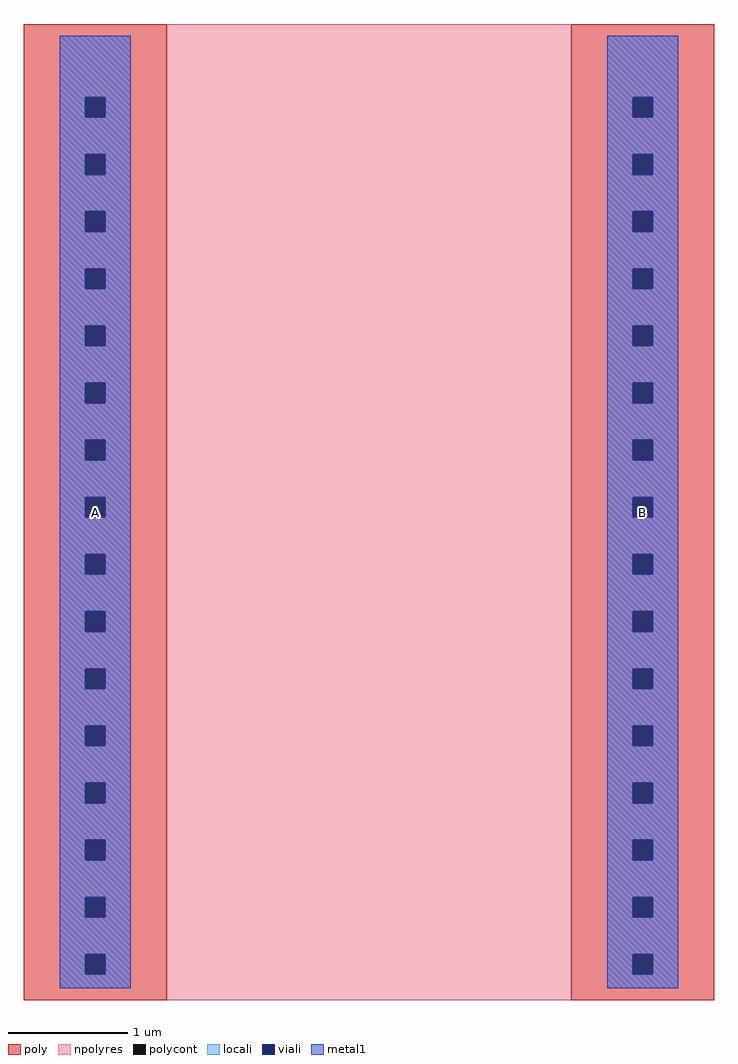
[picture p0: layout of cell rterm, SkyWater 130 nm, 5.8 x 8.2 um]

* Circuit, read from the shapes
.subckt rterm A B
R1 B A sky130_fd_pr__res_generic_po w=8.2 l=3.4
.ends

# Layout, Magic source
magic
tech sky130A
magscale 1 2
<< poly >>
rect 0 1517 240 1640
rect 0 1483 103 1517
rect 137 1483 240 1517
rect 0 1421 240 1483
rect 0 1387 103 1421
rect 137 1387 240 1421
rect 0 1325 240 1387
rect 0 1291 103 1325
rect 137 1291 240 1325
rect 0 1229 240 1291
rect 0 1195 103 1229
rect 137 1195 240 1229
rect 0 1133 240 1195
rect 0 1099 103 1133
rect 137 1099 240 1133
rect 0 1037 240 1099
rect 0 1003 103 1037
rect 137 1003 240 1037
rect 0 941 240 1003
rect 0 907 103 941
rect 137 907 240 941
rect 0 845 240 907
rect 0 811 103 845
rect 137 811 240 845
rect 0 749 240 811
rect 0 715 103 749
rect 137 715 240 749
rect 0 653 240 715
rect 0 619 103 653
rect 137 619 240 653
rect 0 557 240 619
rect 0 523 103 557
rect 137 523 240 557
rect 0 461 240 523
rect 0 427 103 461
rect 137 427 240 461
rect 0 365 240 427
rect 0 331 103 365
rect 137 331 240 365
rect 0 269 240 331
rect 0 235 103 269
rect 137 235 240 269
rect 0 173 240 235
rect 0 139 103 173
rect 137 139 240 173
rect 0 77 240 139
rect 0 43 103 77
rect 137 43 240 77
rect 0 0 240 43
rect 920 1517 1160 1640
rect 920 1483 1023 1517
rect 1057 1483 1160 1517
rect 920 1421 1160 1483
rect 920 1387 1023 1421
rect 1057 1387 1160 1421
rect 920 1325 1160 1387
rect 920 1291 1023 1325
rect 1057 1291 1160 1325
rect 920 1229 1160 1291
rect 920 1195 1023 1229
rect 1057 1195 1160 1229
rect 920 1133 1160 1195
rect 920 1099 1023 1133
rect 1057 1099 1160 1133
rect 920 1037 1160 1099
rect 920 1003 1023 1037
rect 1057 1003 1160 1037
rect 920 941 1160 1003
rect 920 907 1023 941
rect 1057 907 1160 941
rect 920 845 1160 907
rect 920 811 1023 845
rect 1057 811 1160 845
rect 920 749 1160 811
rect 920 715 1023 749
rect 1057 715 1160 749
rect 920 653 1160 715
rect 920 619 1023 653
rect 1057 619 1160 653
rect 920 557 1160 619
rect 920 523 1023 557
rect 1057 523 1160 557
rect 920 461 1160 523
rect 920 427 1023 461
rect 1057 427 1160 461
rect 920 365 1160 427
rect 920 331 1023 365
rect 1057 331 1160 365
rect 920 269 1160 331
rect 920 235 1023 269
rect 1057 235 1160 269
rect 920 173 1160 235
rect 920 139 1023 173
rect 1057 139 1160 173
rect 920 77 1160 139
rect 920 43 1023 77
rect 1057 43 1160 77
rect 920 0 1160 43
<< polycont >>
rect 103 1483 137 1517
rect 103 1387 137 1421
rect 103 1291 137 1325
rect 103 1195 137 1229
rect 103 1099 137 1133
rect 103 1003 137 1037
rect 103 907 137 941
rect 103 811 137 845
rect 103 715 137 749
rect 103 619 137 653
rect 103 523 137 557
rect 103 427 137 461
rect 103 331 137 365
rect 103 235 137 269
rect 103 139 137 173
rect 103 43 137 77
rect 1023 1483 1057 1517
rect 1023 1387 1057 1421
rect 1023 1291 1057 1325
rect 1023 1195 1057 1229
rect 1023 1099 1057 1133
rect 1023 1003 1057 1037
rect 1023 907 1057 941
rect 1023 811 1057 845
rect 1023 715 1057 749
rect 1023 619 1057 653
rect 1023 523 1057 557
rect 1023 427 1057 461
rect 1023 331 1057 365
rect 1023 235 1057 269
rect 1023 139 1057 173
rect 1023 43 1057 77
<< npolyres >>
rect 240 0 920 1640
<< locali >>
rect 60 1517 180 1620
rect 60 1483 103 1517
rect 137 1483 180 1517
rect 60 1421 180 1483
rect 60 1387 103 1421
rect 137 1387 180 1421
rect 60 1325 180 1387
rect 60 1291 103 1325
rect 137 1291 180 1325
rect 60 1229 180 1291
rect 60 1195 103 1229
rect 137 1195 180 1229
rect 60 1133 180 1195
rect 60 1099 103 1133
rect 137 1099 180 1133
rect 60 1037 180 1099
rect 60 1003 103 1037
rect 137 1003 180 1037
rect 60 941 180 1003
rect 60 907 103 941
rect 137 907 180 941
rect 60 845 180 907
rect 60 811 103 845
rect 137 811 180 845
rect 60 749 180 811
rect 60 715 103 749
rect 137 715 180 749
rect 60 653 180 715
rect 60 619 103 653
rect 137 619 180 653
rect 60 557 180 619
rect 60 523 103 557
rect 137 523 180 557
rect 60 461 180 523
rect 60 427 103 461
rect 137 427 180 461
rect 60 365 180 427
rect 60 331 103 365
rect 137 331 180 365
rect 60 269 180 331
rect 60 235 103 269
rect 137 235 180 269
rect 60 173 180 235
rect 60 139 103 173
rect 137 139 180 173
rect 60 77 180 139
rect 60 43 103 77
rect 137 43 180 77
rect 60 20 180 43
rect 980 1517 1100 1620
rect 980 1483 1023 1517
rect 1057 1483 1100 1517
rect 980 1421 1100 1483
rect 980 1387 1023 1421
rect 1057 1387 1100 1421
rect 980 1325 1100 1387
rect 980 1291 1023 1325
rect 1057 1291 1100 1325
rect 980 1229 1100 1291
rect 980 1195 1023 1229
rect 1057 1195 1100 1229
rect 980 1133 1100 1195
rect 980 1099 1023 1133
rect 1057 1099 1100 1133
rect 980 1037 1100 1099
rect 980 1003 1023 1037
rect 1057 1003 1100 1037
rect 980 941 1100 1003
rect 980 907 1023 941
rect 1057 907 1100 941
rect 980 845 1100 907
rect 980 811 1023 845
rect 1057 811 1100 845
rect 980 749 1100 811
rect 980 715 1023 749
rect 1057 715 1100 749
rect 980 653 1100 715
rect 980 619 1023 653
rect 1057 619 1100 653
rect 980 557 1100 619
rect 980 523 1023 557
rect 1057 523 1100 557
rect 980 461 1100 523
rect 980 427 1023 461
rect 1057 427 1100 461
rect 980 365 1100 427
rect 980 331 1023 365
rect 1057 331 1100 365
rect 980 269 1100 331
rect 980 235 1023 269
rect 1057 235 1100 269
rect 980 173 1100 235
rect 980 139 1023 173
rect 1057 139 1100 173
rect 980 77 1100 139
rect 980 43 1023 77
rect 1057 43 1100 77
rect 980 20 1100 43
<< viali >>
rect 103 1483 137 1517
rect 103 1387 137 1421
rect 103 1291 137 1325
rect 103 1195 137 1229
rect 103 1099 137 1133
rect 103 1003 137 1037
rect 103 907 137 941
rect 103 811 137 845
rect 103 715 137 749
rect 103 619 137 653
rect 103 523 137 557
rect 103 427 137 461
rect 103 331 137 365
rect 103 235 137 269
rect 103 139 137 173
rect 103 43 137 77
rect 1023 1483 1057 1517
rect 1023 1387 1057 1421
rect 1023 1291 1057 1325
rect 1023 1195 1057 1229
rect 1023 1099 1057 1133
rect 1023 1003 1057 1037
rect 1023 907 1057 941
rect 1023 811 1057 845
rect 1023 715 1057 749
rect 1023 619 1057 653
rect 1023 523 1057 557
rect 1023 427 1057 461
rect 1023 331 1057 365
rect 1023 235 1057 269
rect 1023 139 1057 173
rect 1023 43 1057 77
<< metal1 >>
rect 60 1517 180 1620
rect 60 1483 103 1517
rect 137 1483 180 1517
rect 60 1421 180 1483
rect 60 1387 103 1421
rect 137 1387 180 1421
rect 60 1325 180 1387
rect 60 1291 103 1325
rect 137 1291 180 1325
rect 60 1229 180 1291
rect 60 1195 103 1229
rect 137 1195 180 1229
rect 60 1133 180 1195
rect 60 1099 103 1133
rect 137 1099 180 1133
rect 60 1037 180 1099
rect 60 1003 103 1037
rect 137 1003 180 1037
rect 60 941 180 1003
rect 60 907 103 941
rect 137 907 180 941
rect 60 845 180 907
rect 60 811 103 845
rect 137 811 180 845
rect 60 749 180 811
rect 60 715 103 749
rect 137 715 180 749
rect 60 653 180 715
rect 60 619 103 653
rect 137 619 180 653
rect 60 557 180 619
rect 60 523 103 557
rect 137 523 180 557
rect 60 461 180 523
rect 60 427 103 461
rect 137 427 180 461
rect 60 365 180 427
rect 60 331 103 365
rect 137 331 180 365
rect 60 269 180 331
rect 60 235 103 269
rect 137 235 180 269
rect 60 173 180 235
rect 60 139 103 173
rect 137 139 180 173
rect 60 77 180 139
rect 60 43 103 77
rect 137 43 180 77
rect 60 20 180 43
rect 980 1517 1100 1620
rect 980 1483 1023 1517
rect 1057 1483 1100 1517
rect 980 1421 1100 1483
rect 980 1387 1023 1421
rect 1057 1387 1100 1421
rect 980 1325 1100 1387
rect 980 1291 1023 1325
rect 1057 1291 1100 1325
rect 980 1229 1100 1291
rect 980 1195 1023 1229
rect 1057 1195 1100 1229
rect 980 1133 1100 1195
rect 980 1099 1023 1133
rect 1057 1099 1100 1133
rect 980 1037 1100 1099
rect 980 1003 1023 1037
rect 1057 1003 1100 1037
rect 980 941 1100 1003
rect 980 907 1023 941
rect 1057 907 1100 941
rect 980 845 1100 907
rect 980 811 1023 845
rect 1057 811 1100 845
rect 980 749 1100 811
rect 980 715 1023 749
rect 1057 715 1100 749
rect 980 653 1100 715
rect 980 619 1023 653
rect 1057 619 1100 653
rect 980 557 1100 619
rect 980 523 1023 557
rect 1057 523 1100 557
rect 980 461 1100 523
rect 980 427 1023 461
rect 1057 427 1100 461
rect 980 365 1100 427
rect 980 331 1023 365
rect 1057 331 1100 365
rect 980 269 1100 331
rect 980 235 1023 269
rect 1057 235 1100 269
rect 980 173 1100 235
rect 980 139 1023 173
rect 1057 139 1100 173
rect 980 77 1100 139
rect 980 43 1023 77
rect 1057 43 1100 77
rect 980 20 1100 43
<< labels >>
rlabel viali 120 820 120 820 0 A
port 1 nsew
rlabel viali 1040 820 1040 820 0 B
port 2 nsew
<< end >>
